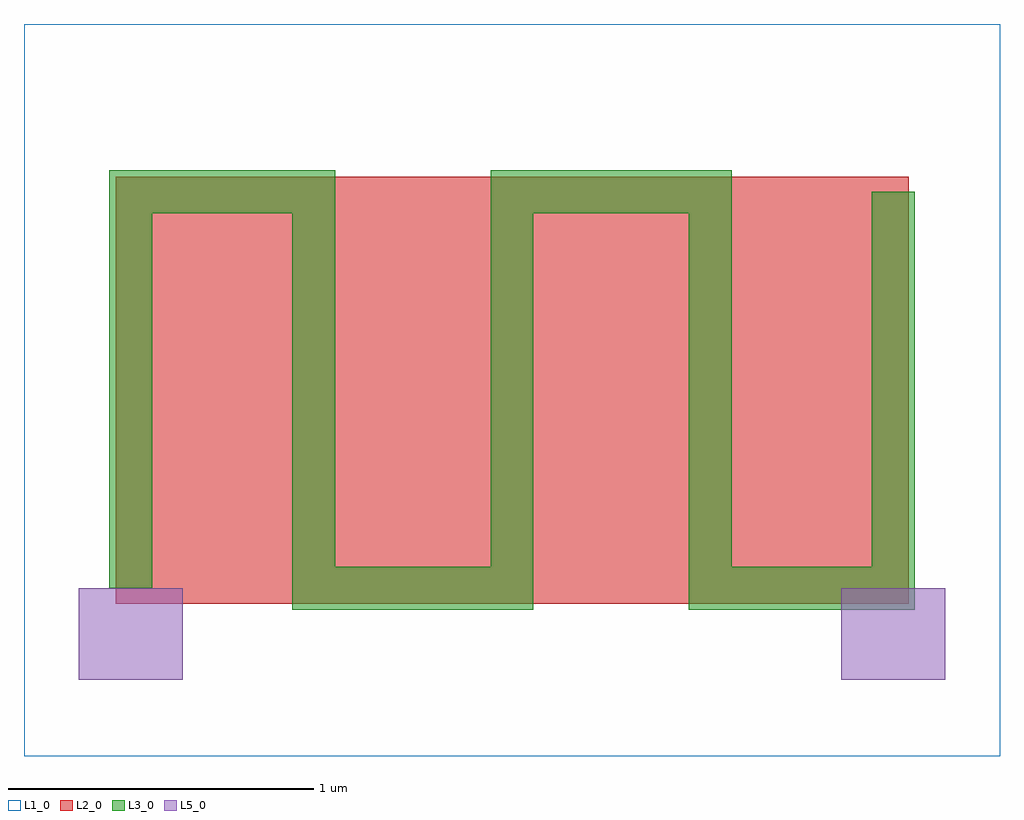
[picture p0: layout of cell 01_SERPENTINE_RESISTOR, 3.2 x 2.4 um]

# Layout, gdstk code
import gdstk
lib = gdstk.Library(unit=1e-6, precision=1e-09)
def R(c, l, rs):  # rectangles x0, y0, x1, y1
    for r in rs: c.add(gdstk.rectangle(r[:2], r[2:], *l))
L1_0 = (1, 0)
L2_0 = (2, 0)
L3_0 = (3, 0)
L5_0 = (5, 0)

c_01_serpentine_resistor = lib.new_cell('01_SERPENTINE_RESISTOR')
R(c_01_serpentine_resistor, L1_0, [(-1.6,-1.2,1.6,1.2)])
R(c_01_serpentine_resistor, L2_0, [(-1.3,-0.7,1.3,0.7)])
R(c_01_serpentine_resistor, L5_0, [(-1.42,-0.95,-1.08,-0.65), (1.08,-0.95,1.42,-0.65)])
c_01_serpentine_resistor.add(gdstk.FlexPath([(-1.25,-0.65),(-1.25,0.65),(-0.65,0.65),(-0.65,-0.65),(0,-0.65),(0,0.65),(0.65,0.65),(0.65,-0.65),(1.25,-0.65),(1.25,0.65)], 0.14, ends="flush", simple_path=True, layer=3, datatype=0))  # L3_0

lib.write_gds('01_SERPENTINE_RESISTOR.gds')
